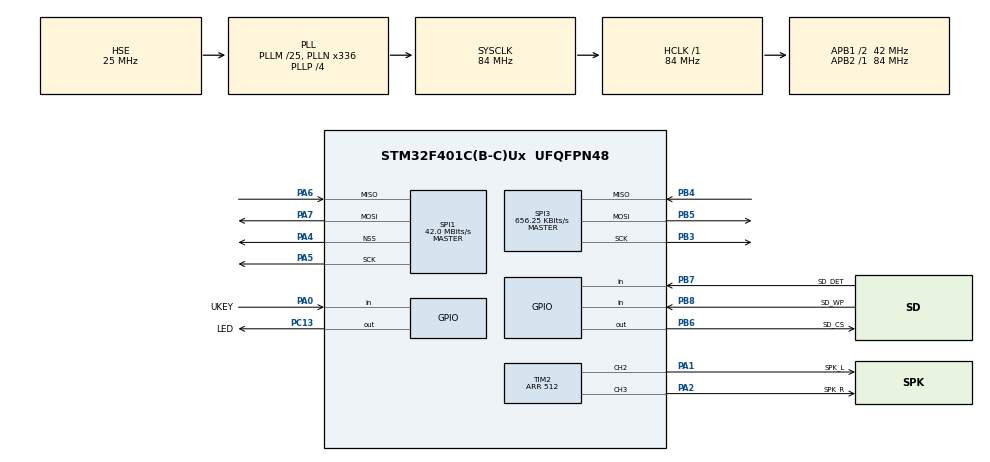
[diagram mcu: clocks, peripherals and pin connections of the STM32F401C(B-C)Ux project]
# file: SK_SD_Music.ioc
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Mcu.Family=STM32F4
Mcu.Name=STM32F401C(B-C)Ux
Mcu.Package=UFQFPN48
NVIC.PriorityGroup=NVIC_PRIORITYGROUP_4
NVIC.SPI1_IRQn=true\:0\:0\:false\:false\:true\:true\:true\:true
NVIC.TIM1_UP_TIM10_IRQn=true\:0\:0\:false\:false\:true\:true\:true\:true
PA0-WKUP.GPIO_Label=UKEY
PA0-WKUP.Signal=GPIO_Input
PA1.GPIO_Label=SPK_L
PA1.Signal=S_TIM2_CH2
PA13.Mode=Serial_Wire
PA13.Signal=SYS_JTMS-SWDIO
PA14.Mode=Serial_Wire
PA14.Signal=SYS_JTCK-SWCLK
PA2.GPIO_Label=SPK_R
PA2.Signal=S_TIM2_CH3
PA4.Mode=NSS_Signal_Hard_Output
PA4.Signal=SPI1_NSS
PA5.Mode=Full_Duplex_Master
PA5.Signal=SPI1_SCK
PA6.Mode=Full_Duplex_Master
PA6.Signal=SPI1_MISO
PA7.Mode=Full_Duplex_Master
PA7.Signal=SPI1_MOSI
PB3.Mode=Full_Duplex_Master
PB3.Signal=SPI3_SCK
PB4.Mode=Full_Duplex_Master
PB4.Signal=SPI3_MISO
PB5.Mode=Full_Duplex_Master
PB5.Signal=SPI3_MOSI
PB6.GPIO_Label=SD_CS
PB6.PinState=GPIO_PIN_SET
PB6.Signal=GPIO_Output
PB7.GPIO_Label=SD_DET
PB7.GPIO_PuPd=GPIO_PULLUP
PB7.Signal=GPIO_Input
PB8.GPIO_Label=SD_WP
PB8.GPIO_PuPd=GPIO_PULLUP
PB8.Signal=GPIO_Input
PC13-ANTI_TAMP.GPIO_Label=LED
PC13-ANTI_TAMP.Signal=GPIO_Output
PC14-OSC32_IN.Mode=LSE-External-Oscillator
PC14-OSC32_IN.Signal=RCC_OSC32_IN
PC15-OSC32_OUT.Mode=LSE-External-Oscillator
PC15-OSC32_OUT.Signal=RCC_OSC32_OUT
PH0\ -\ OSC_IN.Mode=HSE-External-Oscillator
PH0\ -\ OSC_IN.Signal=RCC_OSC_IN
PH1\ -\ OSC_OUT.Mode=HSE-External-Oscillator
PH1\ -\ OSC_OUT.Signal=RCC_OSC_OUT
ProjectManager.HeapSize=0x200
ProjectManager.StackSize=0x400
ProjectManager.TargetToolchain=STM32CubeIDE
RCC.48MHZClocksFreq_Value=84000000
RCC.AHBFreq_Value=84000000
RCC.APB1CLKDivider=RCC_HCLK_DIV2
RCC.APB1Freq_Value=42000000
RCC.APB1TimFreq_Value=84000000
RCC.APB2Freq_Value=84000000
RCC.APB2TimFreq_Value=84000000
RCC.CortexFreq_Value=84000000
RCC.HCLKFreq_Value=84000000
RCC.HSE_VALUE=25000000
RCC.HSI_VALUE=16000000
RCC.PLLM=25
RCC.PLLN=336
RCC.PLLP=RCC_PLLP_DIV4
RCC.PLLSourceVirtual=RCC_PLLSOURCE_HSE
RCC.SYSCLKFreq_VALUE=84000000
RCC.SYSCLKSource=RCC_SYSCLKSOURCE_PLLCLK
RCC.VCOOutputFreq_Value=336000000
SH.S_TIM2_CH2.0=TIM2_CH2,PWM Generation2 CH2
SH.S_TIM2_CH3.0=TIM2_CH3,PWM Generation3 CH3
SPI1.BaudRatePrescaler=SPI_BAUDRATEPRESCALER_2
SPI1.CLKPhase=SPI_PHASE_2EDGE
SPI1.CLKPolarity=SPI_POLARITY_HIGH
SPI1.CalculateBaudRate=42.0 MBits/s
SPI1.Direction=SPI_DIRECTION_2LINES
SPI1.Mode=SPI_MODE_MASTER
SPI1.VirtualNSS=VM_NSSHARD
SPI1.VirtualType=VM_MASTER
SPI3.BaudRatePrescaler=SPI_BAUDRATEPRESCALER_64
SPI3.CLKPhase=SPI_PHASE_1EDGE
SPI3.CalculateBaudRate=656.25 KBits/s
SPI3.Direction=SPI_DIRECTION_2LINES
SPI3.Mode=SPI_MODE_MASTER
SPI3.VirtualType=VM_MASTER
TIM10.AutoReloadPreload=TIM_AUTORELOAD_PRELOAD_ENABLE
TIM10.Period=1904
TIM2.AutoReloadPreload=TIM_AUTORELOAD_PRELOAD_ENABLE
TIM2.Channel-PWM\ Generation2\ CH2=TIM_CHANNEL_2
TIM2.Channel-PWM\ Generation3\ CH3=TIM_CHANNEL_3
TIM2.OCFastMode_PWM-PWM\ Generation2\ CH2=TIM_OCFAST_ENABLE
TIM2.OCFastMode_PWM-PWM\ Generation3\ CH3=TIM_OCFAST_ENABLE
TIM2.Period=512
VP_TIM10_VS_ClockSourceINT.Mode=Enable_Timer
board=custom

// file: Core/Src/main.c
/* USER CODE BEGIN Header */
/**
 ******************************************************************************
 * @file           : main.c
 * @brief          : Main program body
 ******************************************************************************
 * @attention
 *
 * Copyright (c) 2022 STMicroelectronics.
 * All rights reserved.
 *
 * This software is licensed under terms that can be found in the LICENSE file
 * in the root directory of this software component.
 * If no LICENSE file comes with this software, it is provided AS-IS.
 *
 ******************************************************************************
 */
/* USER CODE END Header */
#include "main.h"
#include "spi.h"
#include "tim.h"
#include "gpio.h"

/* USER CODE BEGIN Includes */
#include "ring_buffer.h"
#include "sd.h"
/* USER CODE END Includes */

/* USER CODE BEGIN PD */
#define SD_SIZE 0xf00000
/* USER CODE END PD */

/* USER CODE BEGIN PV */
SD_HandleTypeDef hsd1;
int32_t timer1, timer2;
size_t blockno = 0;
uint8_t rx_buff[SD_DATA_BLOCK] = { 0 };
uint8_t response = 0xff;

uint8_t music_buf[20480] = { 0 }; //actual samples
RingBuffer music_ringbuf;
Sample_Type_Def music = { 0 };
uint8_t c, lbuf, rbuf;
uint8_t mysd_need_samples = 0;

/* USER CODE END PV */

void SystemClock_Config(void);

int main(void) {

	/* MCU Configuration--------------------------------------------------------*/

	/* Reset of all peripherals, Initializes the Flash interface and the Systick. */
	HAL_Init();

	/* Configure the system clock */
	SystemClock_Config();

	/* USER CODE BEGIN SysInit */
	RingBuffer_Init(&music_ringbuf, music_buf, 20480);
	/* USER CODE END SysInit */

	/* Initialize all configured peripherals */
	MX_GPIO_Init();
	MX_SPI1_Init();
	MX_SPI3_Init();
	MX_TIM2_Init();
	MX_TIM10_Init();
	/* USER CODE BEGIN 2 */
	hsd1.CS_Pin = SD_CS_Pin;
	hsd1.CS_Port = SD_CS_GPIO_Port;
	hsd1.DET_Pin = SD_DET_Pin;
	hsd1.DET_Port = SD_DET_GPIO_Port;
	hsd1.WP_Pin = SD_WP_Pin;
	hsd1.WP_Port = SD_WP_GPIO_Port;
	hsd1.hspi = &hspi3;
//	SD_Init(&hsd1);
	uint32_t i = 0;
	do {
		SD_Init(&hsd1);
	} while ((i = SD_Read_Block(&hsd1, rx_buff, blockno)) == 0);

	for (i = 0; i < 512; ++i) {
		if (rx_buff[i] == 'R') {
			if (rx_buff[i + 1] == 'I') {
				if (rx_buff[i + 2] == 'F') {
					if (rx_buff[i + 3] == 'F') {
						music.address = blockno * 512 + i;
						i += 4;
						music.length = rx_buff[i+4];
						music.length = music.length << 8;
						music.length |= rx_buff[i+3];
						music.length = music.length << 8;
						music.length |= rx_buff[i+2];
						music.length = music.length << 8;
						music.length |= rx_buff[i+1];
						i += 12;
						music.bits_per_sample = rx_buff[i];
						i += 6;
						music.channels = rx_buff[i];
						i += 2;
						music.samplerate = rx_buff[i+3];
						music.samplerate = music.samplerate << 8;
						music.samplerate |= rx_buff[i+2];
						music.samplerate = music.samplerate << 8;
						music.samplerate |= rx_buff[i+1];
						music.samplerate = music.samplerate << 8;
						music.samplerate |= rx_buff[i];
						i+=4;
						break;
					}

				}
			}
		}
	}
	if (music.length != 0) {
		//read samples, write to ringbuff,/**/ start playing
		i += 16;
		for (; i < 512; i++) {
			RingBuffer_PutChar(&music_ringbuf, rx_buff[i]);
		}
		blockno += 512;
		uint32_t tmp=(uint32_t)(SystemCoreClock / (music.samplerate))-1;
		htim10.Init.Period = tmp;
		HAL_TIM_Base_Init(&htim10);

		HAL_TIM_Base_Start_IT(&htim10);
		HAL_TIM_PWM_Start(&htim2, TIM_CHANNEL_2);
		HAL_TIM_PWM_Start(&htim2, TIM_CHANNEL_3);
	}
	/* USER CODE END 2 */

	/* Infinite loop */
	/* USER CODE BEGIN WHILE */
	while (1) {
		if (mysd_need_samples) {
			if (!SD_Read_Block(&hsd1, rx_buff, blockno)) {
				while (1)
					;
			}
			blockno += 512;
			for (int i = 0; i < 512; ++i) {
				RingBuffer_PutChar(&music_ringbuf, rx_buff[i]);

			}
			mysd_need_samples = 0;
		}
		/* USER CODE END WHILE */

	}
}

void SystemClock_Config(void) {
	RCC_OscInitTypeDef RCC_OscInitStruct = { 0 };
	RCC_ClkInitTypeDef RCC_ClkInitStruct = { 0 };

	/** Configure the main internal regulator output voltage
	 */
	__HAL_RCC_PWR_CLK_ENABLE();
	__HAL_PWR_VOLTAGESCALING_CONFIG(PWR_REGULATOR_VOLTAGE_SCALE2);

	/** Initializes the RCC Oscillators according to the specified parameters
	 * in the RCC_OscInitTypeDef structure.
	 */
	RCC_OscInitStruct.OscillatorType = RCC_OSCILLATORTYPE_HSE;
	RCC_OscInitStruct.HSEState = RCC_HSE_ON;
	RCC_OscInitStruct.PLL.PLLState = RCC_PLL_ON;
	RCC_OscInitStruct.PLL.PLLSource = RCC_PLLSOURCE_HSE;
	RCC_OscInitStruct.PLL.PLLM = 25;
	RCC_OscInitStruct.PLL.PLLN = 336;
	RCC_OscInitStruct.PLL.PLLP = RCC_PLLP_DIV4;
	RCC_OscInitStruct.PLL.PLLQ = 4;
	if (HAL_RCC_OscConfig(&RCC_OscInitStruct) != HAL_OK) {
		Error_Handler();
	}

	/** Initializes the CPU, AHB and APB buses clocks
	 */
	RCC_ClkInitStruct.ClockType = RCC_CLOCKTYPE_HCLK | RCC_CLOCKTYPE_SYSCLK
			| RCC_CLOCKTYPE_PCLK1 | RCC_CLOCKTYPE_PCLK2;
	RCC_ClkInitStruct.SYSCLKSource = RCC_SYSCLKSOURCE_PLLCLK;
	RCC_ClkInitStruct.AHBCLKDivider = RCC_SYSCLK_DIV1;
	RCC_ClkInitStruct.APB1CLKDivider = RCC_HCLK_DIV2;
	RCC_ClkInitStruct.APB2CLKDivider = RCC_HCLK_DIV1;

	if (HAL_RCC_ClockConfig(&RCC_ClkInitStruct, FLASH_LATENCY_2) != HAL_OK) {
		Error_Handler();
	}
}

/* USER CODE BEGIN 4 */
void HAL_TIM_PeriodElapsedCallback(TIM_HandleTypeDef *htim) {
	//TODO
	if (htim->Instance == TIM10) {
		//pobranie sampli jesli zawartosc bufora jest mniejsza niz np 512
		if (music_ringbuf.len < 2048) {
			mysd_need_samples = 1;
		}
		if (music.channels == 2) {
			RingBuffer_GetChar(&music_ringbuf, &c);
			lbuf = c;
			RingBuffer_GetChar(&music_ringbuf, &c);
			rbuf = c;
			__HAL_TIM_SET_COMPARE(&htim2, TIM_CHANNEL_2, lbuf);
			__HAL_TIM_SET_COMPARE(&htim2, TIM_CHANNEL_3, rbuf);
		} else {
			RingBuffer_GetChar(&music_ringbuf, &c);
			lbuf = c;
			//snprintf(usart_buf,"%d\n",lbuf);

			__HAL_TIM_SET_COMPARE(&htim2, TIM_CHANNEL_2, lbuf);
			__HAL_TIM_SET_COMPARE(&htim2, TIM_CHANNEL_3, lbuf);
		}
	}

}
/* USER CODE END 4 */

void Error_Handler(void) {
	__disable_irq();
	while (1) {
	}
}
